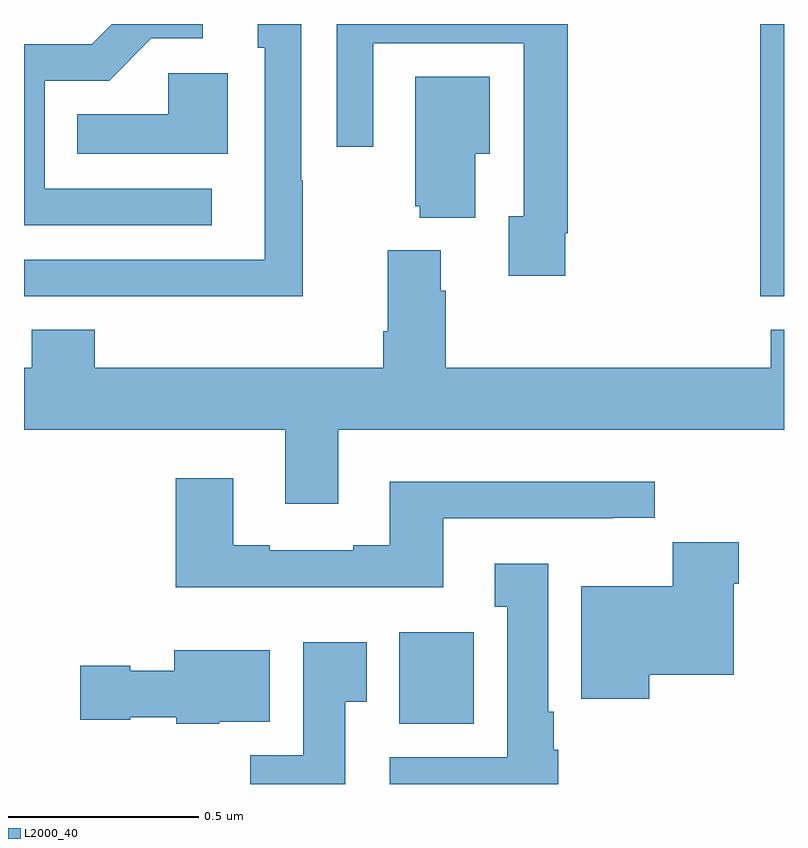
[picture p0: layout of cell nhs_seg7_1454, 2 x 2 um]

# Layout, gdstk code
import gdstk
lib = gdstk.Library(unit=1e-6, precision=1e-09)
def R(c, l, rs):  # rectangles x0, y0, x1, y1
    for r in rs: c.add(gdstk.rectangle(r[:2], r[2:], *l))
def P(c, l, *ps):  # polygons
    for p in ps: c.add(gdstk.Polygon(p, *l))
L2000_40 = (2000, 40)

nhs_seg7_1454 = lib.new_cell('nhs_seg7_1454')
R(nhs_seg7_1454, L2000_40, [(131.987,1017.158,132.184,1017.4), (132.938,1018.283,133,1019)])
P(nhs_seg7_1454, L2000_40, [(132.424,1018.45),(132.431,1018.45),(132.431,1019),(131.823,1019),(131.823,1018.677),(131.919,1018.677),(131.919,1018.95),(132.315,1018.95),(132.315,1018.494),(132.275,1018.494),(132.275,1018.338),(132.424,1018.338)],
  [(131.494,1018.566),(131.055,1018.566),(131.055,1018.851),(131.224,1018.851),(131.335,1018.962),(131.47,1018.962),(131.47,1019),(131.231,1019),(131.178,1018.947),(131,1018.947),(131,1018.47),(131.494,1018.47)],
  [(131.733,1018.589),(131.73,1018.589),(131.73,1019),(131.615,1019),(131.615,1018.938),(131.634,1018.938),(131.634,1018.628),(131.633,1018.628),(131.633,1018.38),(131,1018.38),(131,1018.284),(131.269,1018.284),(131.269,1018.283),(131.733,1018.283)],
  [(131.536,1018.87),(131.379,1018.87),(131.379,1018.762),(131.14,1018.762),(131.14,1018.658),(131.536,1018.658)],
  [(132.187,1018.658),(132.226,1018.658),(132.226,1018.861),(132.029,1018.861),(132.029,1018.521),(132.041,1018.521),(132.041,1018.49),(132.187,1018.49)],
  [(131.827,1017.932),(133,1017.932),(133,1018.195),(132.965,1018.195),(132.965,1018.096),(132.11,1018.096),(132.11,1018.298),(132.097,1018.298),(132.097,1018.405),(131.957,1018.405),(131.957,1018.192),(131.945,1018.192),(131.945,1018.096),(131.186,1018.096),(131.186,1018.195),(131.021,1018.195),(131.021,1018.096),(131,1018.096),(131,1017.932),(131.687,1017.932),(131.687,1017.738),(131.827,1017.738)],
  [(132.103,1017.699),(132.551,1017.699),(132.551,1017.701),(132.66,1017.701),(132.66,1017.796),(131.963,1017.796),(131.963,1017.628),(131.867,1017.628),(131.867,1017.615),(131.647,1017.615),(131.647,1017.628),(131.551,1017.628),(131.551,1017.805),(131.399,1017.805),(131.399,1017.518),(132.103,1017.518)],
  [(132.646,1017.287),(132.868,1017.287),(132.868,1017.527),(132.881,1017.527),(132.881,1017.636),(132.707,1017.636),(132.707,1017.52),(132.467,1017.52),(132.467,1017.224),(132.646,1017.224)],
  [(132.406,1017.09),(132.394,1017.09),(132.394,1017.19),(132.379,1017.19),(132.379,1017.58),(132.239,1017.58),(132.239,1017.467),(132.272,1017.467),(132.272,1017.07),(131.963,1017.07),(131.963,1017),(132.406,1017)],
  [(131.845,1017.217),(131.902,1017.217),(131.902,1017.373),(131.735,1017.373),(131.735,1017.076),(131.596,1017.076),(131.596,1017),(131.845,1017)],
  [(131.514,1017.164),(131.647,1017.164),(131.647,1017.352),(131.396,1017.352),(131.396,1017.298),(131.28,1017.298),(131.28,1017.311),(131.148,1017.311),(131.148,1017.169),(131.28,1017.169),(131.28,1017.176),(131.4,1017.176),(131.4,1017.158),(131.514,1017.158)])

lib.write_gds('nhs_seg7_1454.gds')
